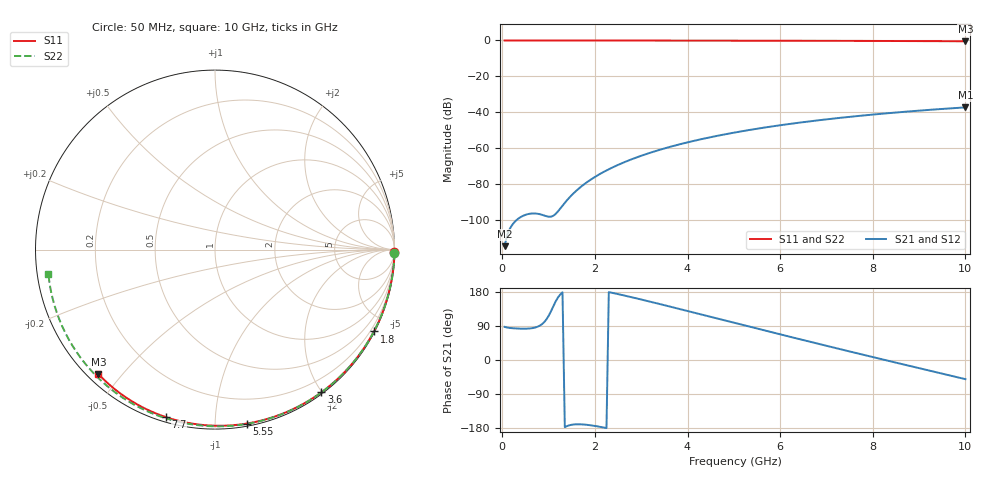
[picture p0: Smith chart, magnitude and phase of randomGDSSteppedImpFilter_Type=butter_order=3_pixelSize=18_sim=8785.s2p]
! freq	dB(S11)	phase(S11)	dB(S12)	phase(S12)
!  dB(S21)	phase(S21)	dB(S22)	phase(S22)
!S-par simulation data
#  GHz  S  DB  R 50
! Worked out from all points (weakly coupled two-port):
!   200 points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, 50 MHz to 10 GHz, reference 50 ohm
!   highest |S21| = -37.19 dB at 10 GHz (marker M1); lowest = -114.3 dB at 50 MHz (marker M2)
!   lowest |S11| = -0.4 dB at 10 GHz (marker M3), VSWR 39.06, Z = 1.52 - j21.7 ohm
!   |S11| at or under -10 dB: nowhere
!   |S22| runs from -0.6 to 0.0 dB; largest |S21 - S12| = 0
!   S11 on the Smith chart (normalised r, x): 50 MHz: open; 1.8 GHz: 0.04, -4.12; 3.6 GHz: 0.02, -1.99; 5.55 GHz: 0.02, -1.20; 7.7 GHz: 0.02, -0.75; 10 GHz: 0.03, -0.43
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0.05  -0.00 -0.8  -114.31 87.5  -114.31 87.5  -0.00 -1.0
0.45  -0.01 -6.9  -97.42 82.6  -97.42 82.6  -0.01 -8.8
0.85  -0.02 -13.0  -96.82 93.9  -96.82 93.9  -0.02 -16.5
1.3  -0.02 -19.8  -91.80 178.7  -91.80 178.7  -0.03 -25.2
1.75  -0.03 -26.5  -80.26 -170.2  -80.26 -170.2  -0.04 -33.7
1.8  -0.03 -27.3  -79.30 -170.7  -79.30 -170.7  -0.04 -34.6
1.95  -0.04 -29.5  -76.66 -173.0  -76.66 -173.0  -0.05 -37.4
2.1  -0.04 -31.7  -74.32 -176.1  -74.32 -176.1  -0.05 -40.2
2.3  -0.04 -34.6  -71.57 179.2  -71.57 179.2  -0.06 -43.9
2.5  -0.05 -37.6  -69.14 173.9  -69.14 173.9  -0.06 -47.6
2.9  -0.06 -43.4  -64.99 162.6  -64.99 162.6  -0.07 -54.9
3.4  -0.07 -50.5  -60.76 147.7  -60.76 147.7  -0.08 -63.8
3.6  -0.07 -53.3  -59.28 141.6  -59.28 141.6  -0.09 -67.3
4.3  -0.09 -63.0  -54.84 120.1  -54.84 120.1  -0.11 -79.4
5.05  -0.11 -73.1  -51.01 96.9  -51.01 96.9  -0.14 -92.0
5.55  -0.13 -79.6  -48.85 81.5  -48.85 81.5  -0.16 -100.2
6.1  -0.15 -86.6  -46.76 64.7  -46.76 64.7  -0.19 -109.1
6.7  -0.18 -94.2  -44.75 46.5  -44.75 46.5  -0.23 -118.6
7.7  -0.24 -106.3  -41.93 16.6  -41.93 16.6  -0.31 -134.3
8.35  -0.29 -114.0  -40.37 -2.6  -40.37 -2.6  -0.37 -144.6
9.2  -0.36 -123.9  -38.60 -27.4  -38.60 -27.4  -0.46 -158.3
10  -0.44 -133.1  -37.19 -50.5  -37.19 -50.5  -0.56 -171.6
